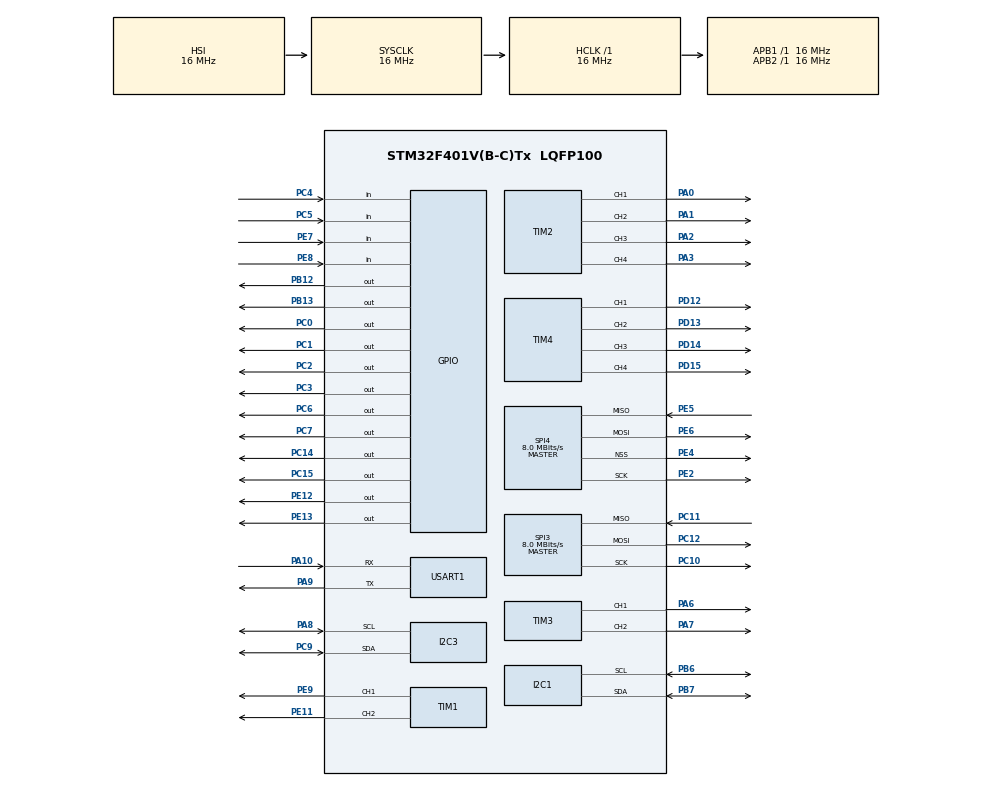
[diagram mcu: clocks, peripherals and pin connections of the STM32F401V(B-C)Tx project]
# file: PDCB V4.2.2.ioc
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Mcu.Family=STM32F4
Mcu.Name=STM32F401V(B-C)Tx
Mcu.Package=LQFP100
NVIC.PriorityGroup=NVIC_PRIORITYGROUP_4
PA0-WKUP.Signal=S_TIM2_CH1_ETR
PA1.Signal=S_TIM2_CH2
PA10.Mode=Asynchronous
PA10.Signal=USART1_RX
PA13.Mode=JTAG_4_pins
PA13.Signal=SYS_JTMS-SWDIO
PA14.Mode=JTAG_4_pins
PA14.Signal=SYS_JTCK-SWCLK
PA15.Mode=JTAG_4_pins
PA15.Signal=SYS_JTDI
PA2.Signal=S_TIM2_CH3
PA3.Signal=S_TIM2_CH4
PA6.Signal=S_TIM3_CH1
PA7.Signal=S_TIM3_CH2
PA8.Mode=I2C
PA8.Signal=I2C3_SCL
PA9.Mode=Asynchronous
PA9.Signal=USART1_TX
PB12.Signal=GPIO_Output
PB13.Signal=GPIO_Output
PB3.Mode=JTAG_4_pins
PB3.Signal=SYS_JTDO-SWO
PB6.Mode=I2C
PB6.Signal=I2C1_SCL
PB7.Mode=I2C
PB7.Signal=I2C1_SDA
PC0.Signal=GPIO_Output
PC1.Signal=GPIO_Output
PC10.Mode=Full_Duplex_Master
PC10.Signal=SPI3_SCK
PC11.Mode=Full_Duplex_Master
PC11.Signal=SPI3_MISO
PC12.Mode=Full_Duplex_Master
PC12.Signal=SPI3_MOSI
PC14-OSC32_IN.Signal=GPIO_Output
PC15-OSC32_OUT.Signal=GPIO_Output
PC2.Signal=GPIO_Output
PC3.Signal=GPIO_Output
PC4.Signal=GPIO_Input
PC5.Signal=GPIO_Input
PC6.Signal=GPIO_Output
PC7.Signal=GPIO_Output
PC9.Mode=I2C
PC9.Signal=I2C3_SDA
PD12.Signal=S_TIM4_CH1
PD13.Signal=S_TIM4_CH2
PD14.Signal=S_TIM4_CH3
PD15.Signal=S_TIM4_CH4
PE11.Signal=S_TIM1_CH2
PE12.Signal=GPIO_Output
PE13.Signal=GPIO_Output
PE2.Mode=Full_Duplex_Master
PE2.Signal=SPI4_SCK
PE4.Mode=NSS_Signal_Hard_Output
PE4.Signal=SPI4_NSS
PE5.Mode=Full_Duplex_Master
PE5.Signal=SPI4_MISO
PE6.Mode=Full_Duplex_Master
PE6.Signal=SPI4_MOSI
PE7.Signal=GPIO_Input
PE8.Signal=GPIO_Input
PE9.Signal=S_TIM1_CH1
PH0\ -\ OSC_IN.Mode=HSE-External-Oscillator
PH0\ -\ OSC_IN.Signal=RCC_OSC_IN
PH1\ -\ OSC_OUT.Mode=HSE-External-Oscillator
PH1\ -\ OSC_OUT.Signal=RCC_OSC_OUT
ProjectManager.HeapSize=0x200
ProjectManager.StackSize=0x400
ProjectManager.TargetToolchain=MDK-ARM V5
RCC.AHBFreq_Value=16000000
RCC.APB1Freq_Value=16000000
RCC.APB2Freq_Value=16000000
RCC.CortexFreq_Value=16000000
RCC.HSE_VALUE=25000000
RCC.HSI_VALUE=16000000
RCC.LSE_VALUE=32768
RCC.SYSCLKFreq_VALUE=16000000
RCC.VCOOutputFreq_Value=192000000
SH.S_TIM1_CH1.0=TIM1_CH1,PWM Generation1 CH1
SH.S_TIM1_CH2.0=TIM1_CH2,PWM Generation2 CH2
SH.S_TIM2_CH1_ETR.0=TIM2_CH1,PWM Generation1 CH1
SH.S_TIM2_CH2.0=TIM2_CH2,PWM Generation2 CH2
SH.S_TIM2_CH3.0=TIM2_CH3,PWM Generation3 CH3
SH.S_TIM2_CH4.0=TIM2_CH4,PWM Generation4 CH4
SH.S_TIM3_CH1.0=TIM3_CH1,PWM Generation1 CH1
SH.S_TIM3_CH2.0=TIM3_CH2,PWM Generation2 CH2
SH.S_TIM4_CH1.0=TIM4_CH1,PWM Generation1 CH1
SH.S_TIM4_CH2.0=TIM4_CH2,PWM Generation2 CH2
SH.S_TIM4_CH3.0=TIM4_CH3,PWM Generation3 CH3
SH.S_TIM4_CH4.0=TIM4_CH4,PWM Generation4 CH4
SPI3.CalculateBaudRate=8.0 MBits/s
SPI3.Direction=SPI_DIRECTION_2LINES
SPI3.Mode=SPI_MODE_MASTER
SPI3.VirtualType=VM_MASTER
SPI4.CalculateBaudRate=8.0 MBits/s
SPI4.Direction=SPI_DIRECTION_2LINES
SPI4.Mode=SPI_MODE_MASTER
SPI4.VirtualNSS=VM_NSSHARD
SPI4.VirtualType=VM_MASTER
TIM1.Channel-PWM\ Generation1\ CH1=TIM_CHANNEL_1
TIM1.Channel-PWM\ Generation2\ CH2=TIM_CHANNEL_2
TIM2.Channel-PWM\ Generation1\ CH1=TIM_CHANNEL_1
TIM2.Channel-PWM\ Generation2\ CH2=TIM_CHANNEL_2
TIM2.Channel-PWM\ Generation3\ CH3=TIM_CHANNEL_3
TIM2.Channel-PWM\ Generation4\ CH4=TIM_CHANNEL_4
TIM3.Channel-PWM\ Generation1\ CH1=TIM_CHANNEL_1
TIM3.Channel-PWM\ Generation2\ CH2=TIM_CHANNEL_2
TIM4.Channel-PWM\ Generation1\ CH1=TIM_CHANNEL_1
TIM4.Channel-PWM\ Generation2\ CH2=TIM_CHANNEL_2
TIM4.Channel-PWM\ Generation3\ CH3=TIM_CHANNEL_3
TIM4.Channel-PWM\ Generation4\ CH4=TIM_CHANNEL_4
USART1.VirtualMode=VM_ASYNC
board=custom

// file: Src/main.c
/* USER CODE BEGIN Header */
/**
  ******************************************************************************
  * @file           : main.c
  * @brief          : Main program body
  ******************************************************************************
  ** This notice applies to any and all portions of this file
  * that are not between comment pairs USER CODE BEGIN and
  * USER CODE END. Other portions of this file, whether
  * inserted by the user or by software development tools
  * are owned by their respective copyright owners.
  *
  * COPYRIGHT(c) 2019 STMicroelectronics
  *
  * Redistribution and use in source and binary forms, with or without modification,
  * are permitted provided that the following conditions are met:
  *   1. Redistributions of source code must retain the above copyright notice,
  *      this list of conditions and the following disclaimer.
  *   2. Redistributions in binary form must reproduce the above copyright notice,
  *      this list of conditions and the following disclaimer in the documentation
  *      and/or other materials provided with the distribution.
  *   3. Neither the name of STMicroelectronics nor the names of its contributors
  *      may be used to endorse or promote products derived from this software
  *      without specific prior written permission.
  *
  * THIS SOFTWARE IS PROVIDED BY THE COPYRIGHT HOLDERS AND CONTRIBUTORS "AS IS"
  * AND ANY EXPRESS OR IMPLIED WARRANTIES, INCLUDING, BUT NOT LIMITED TO, THE
  * IMPLIED WARRANTIES OF MERCHANTABILITY AND FITNESS FOR A PARTICULAR PURPOSE ARE
  * DISCLAIMED. IN NO EVENT SHALL THE COPYRIGHT HOLDER OR CONTRIBUTORS BE LIABLE
  * FOR ANY DIRECT, INDIRECT, INCIDENTAL, SPECIAL, EXEMPLARY, OR CONSEQUENTIAL
  * DAMAGES (INCLUDING, BUT NOT LIMITED TO, PROCUREMENT OF SUBSTITUTE GOODS OR
  * SERVICES; LOSS OF USE, DATA, OR PROFITS; OR BUSINESS INTERRUPTION) HOWEVER
  * CAUSED AND ON ANY THEORY OF LIABILITY, WHETHER IN CONTRACT, STRICT LIABILITY,
  * OR TORT (INCLUDING NEGLIGENCE OR OTHERWISE) ARISING IN ANY WAY OUT OF THE USE
  * OF THIS SOFTWARE, EVEN IF ADVISED OF THE POSSIBILITY OF SUCH DAMAGE.
  *
  ******************************************************************************
  */
/* USER CODE END Header */

#include "main.h"

I2C_HandleTypeDef hi2c1;
I2C_HandleTypeDef hi2c3;

SPI_HandleTypeDef hspi3;
SPI_HandleTypeDef hspi4;

TIM_HandleTypeDef htim1;
TIM_HandleTypeDef htim2;
TIM_HandleTypeDef htim3;
TIM_HandleTypeDef htim4;

UART_HandleTypeDef huart1;

uint16_t pwm_value = 0;

void SystemClock_Config(void);
static void MX_GPIO_Init(void);
static void MX_I2C1_Init(void);
static void MX_I2C3_Init(void);
static void MX_SPI3_Init(void);
static void MX_SPI4_Init(void);
static void MX_TIM1_Init(void);
static void MX_TIM2_Init(void);
static void MX_TIM3_Init(void);
static void MX_TIM4_Init(void);
static void MX_USART1_UART_Init(void);
void user_pwm_setvalue(uint16_t value);

int main(void)
{

  /* MCU Configuration--------------------------------------------------------*/

  /* Reset of all peripherals, Initializes the Flash interface and the Systick. */
  HAL_Init();

  /* Configure the system clock */
  SystemClock_Config();

  /* Initialize all configured peripherals */
  MX_GPIO_Init();
  MX_I2C1_Init();
  MX_I2C3_Init();
  MX_SPI3_Init();
  MX_SPI4_Init();
  MX_TIM1_Init();
  MX_TIM2_Init();
  MX_TIM3_Init();
  MX_TIM4_Init();
  MX_USART1_UART_Init();
  /* USER CODE BEGIN 2 */
	HAL_TIM_PWM_Start(&htim3, TIM_CHANNEL_1);
	HAL_TIM_PWM_Start(&htim3, TIM_CHANNEL_2);

  /* USER CODE END 2 */

  /* Infinite loop */
  while (1)
  {

    /* USER CODE BEGIN 3 */
		HAL_Delay(100);
		pwm_value = 500;
		user_pwm_setvalue(pwm_value);

  }
  /* USER CODE END 3 */
}

void SystemClock_Config(void)
{
  RCC_OscInitTypeDef RCC_OscInitStruct = {0};
  RCC_ClkInitTypeDef RCC_ClkInitStruct = {0};

  /**Configure the main internal regulator output voltage
  */
  __HAL_RCC_PWR_CLK_ENABLE();
  __HAL_PWR_VOLTAGESCALING_CONFIG(PWR_REGULATOR_VOLTAGE_SCALE2);
  /**Initializes the CPU, AHB and APB busses clocks
  */
  RCC_OscInitStruct.OscillatorType = RCC_OSCILLATORTYPE_HSI;
  RCC_OscInitStruct.HSIState = RCC_HSI_ON;
  RCC_OscInitStruct.HSICalibrationValue = RCC_HSICALIBRATION_DEFAULT;
  RCC_OscInitStruct.PLL.PLLState = RCC_PLL_NONE;
  if (HAL_RCC_OscConfig(&RCC_OscInitStruct) != HAL_OK)
  {
    Error_Handler();
  }
  /**Initializes the CPU, AHB and APB busses clocks
  */
  RCC_ClkInitStruct.ClockType = RCC_CLOCKTYPE_HCLK|RCC_CLOCKTYPE_SYSCLK
                              |RCC_CLOCKTYPE_PCLK1|RCC_CLOCKTYPE_PCLK2;
  RCC_ClkInitStruct.SYSCLKSource = RCC_SYSCLKSOURCE_HSI;
  RCC_ClkInitStruct.AHBCLKDivider = RCC_SYSCLK_DIV1;
  RCC_ClkInitStruct.APB1CLKDivider = RCC_HCLK_DIV1;
  RCC_ClkInitStruct.APB2CLKDivider = RCC_HCLK_DIV1;

  if (HAL_RCC_ClockConfig(&RCC_ClkInitStruct, FLASH_LATENCY_0) != HAL_OK)
  {
    Error_Handler();
  }
}

static void MX_I2C1_Init(void)
{

  hi2c1.Instance = I2C1;
  hi2c1.Init.ClockSpeed = 100000;
  hi2c1.Init.DutyCycle = I2C_DUTYCYCLE_2;
  hi2c1.Init.OwnAddress1 = 0;
  hi2c1.Init.AddressingMode = I2C_ADDRESSINGMODE_7BIT;
  hi2c1.Init.DualAddressMode = I2C_DUALADDRESS_DISABLE;
  hi2c1.Init.OwnAddress2 = 0;
  hi2c1.Init.GeneralCallMode = I2C_GENERALCALL_DISABLE;
  hi2c1.Init.NoStretchMode = I2C_NOSTRETCH_DISABLE;
  if (HAL_I2C_Init(&hi2c1) != HAL_OK)
  {
    Error_Handler();
  }

}

static void MX_I2C3_Init(void)
{

  hi2c3.Instance = I2C3;
  hi2c3.Init.ClockSpeed = 100000;
  hi2c3.Init.DutyCycle = I2C_DUTYCYCLE_2;
  hi2c3.Init.OwnAddress1 = 0;
  hi2c3.Init.AddressingMode = I2C_ADDRESSINGMODE_7BIT;
  hi2c3.Init.DualAddressMode = I2C_DUALADDRESS_DISABLE;
  hi2c3.Init.OwnAddress2 = 0;
  hi2c3.Init.GeneralCallMode = I2C_GENERALCALL_DISABLE;
  hi2c3.Init.NoStretchMode = I2C_NOSTRETCH_DISABLE;
  if (HAL_I2C_Init(&hi2c3) != HAL_OK)
  {
    Error_Handler();
  }

}

static void MX_SPI3_Init(void)
{

  /* SPI3 parameter configuration*/
  hspi3.Instance = SPI3;
  hspi3.Init.Mode = SPI_MODE_MASTER;
  hspi3.Init.Direction = SPI_DIRECTION_2LINES;
  hspi3.Init.DataSize = SPI_DATASIZE_8BIT;
  hspi3.Init.CLKPolarity = SPI_POLARITY_LOW;
  hspi3.Init.CLKPhase = SPI_PHASE_1EDGE;
  hspi3.Init.NSS = SPI_NSS_SOFT;
  hspi3.Init.BaudRatePrescaler = SPI_BAUDRATEPRESCALER_2;
  hspi3.Init.FirstBit = SPI_FIRSTBIT_MSB;
  hspi3.Init.TIMode = SPI_TIMODE_DISABLE;
  hspi3.Init.CRCCalculation = SPI_CRCCALCULATION_DISABLE;
  hspi3.Init.CRCPolynomial = 10;
  if (HAL_SPI_Init(&hspi3) != HAL_OK)
  {
    Error_Handler();
  }

}

static void MX_SPI4_Init(void)
{

  /* SPI4 parameter configuration*/
  hspi4.Instance = SPI4;
  hspi4.Init.Mode = SPI_MODE_MASTER;
  hspi4.Init.Direction = SPI_DIRECTION_2LINES;
  hspi4.Init.DataSize = SPI_DATASIZE_8BIT;
  hspi4.Init.CLKPolarity = SPI_POLARITY_LOW;
  hspi4.Init.CLKPhase = SPI_PHASE_1EDGE;
  hspi4.Init.NSS = SPI_NSS_HARD_OUTPUT;
  hspi4.Init.BaudRatePrescaler = SPI_BAUDRATEPRESCALER_2;
  hspi4.Init.FirstBit = SPI_FIRSTBIT_MSB;
  hspi4.Init.TIMode = SPI_TIMODE_DISABLE;
  hspi4.Init.CRCCalculation = SPI_CRCCALCULATION_DISABLE;
  hspi4.Init.CRCPolynomial = 10;
  if (HAL_SPI_Init(&hspi4) != HAL_OK)
  {
    Error_Handler();
  }

}

static void MX_TIM1_Init(void)
{

  TIM_MasterConfigTypeDef sMasterConfig = {0};
  TIM_OC_InitTypeDef sConfigOC = {0};
  TIM_BreakDeadTimeConfigTypeDef sBreakDeadTimeConfig = {0};

  htim1.Instance = TIM1;
  htim1.Init.Prescaler = 0;
  htim1.Init.CounterMode = TIM_COUNTERMODE_UP;
  htim1.Init.Period = 0;
  htim1.Init.ClockDivision = TIM_CLOCKDIVISION_DIV1;
  htim1.Init.RepetitionCounter = 0;
  if (HAL_TIM_PWM_Init(&htim1) != HAL_OK)
  {
    Error_Handler();
  }
  sMasterConfig.MasterOutputTrigger = TIM_TRGO_RESET;
  sMasterConfig.MasterSlaveMode = TIM_MASTERSLAVEMODE_DISABLE;
  if (HAL_TIMEx_MasterConfigSynchronization(&htim1, &sMasterConfig) != HAL_OK)
  {
    Error_Handler();
  }
  sConfigOC.OCMode = TIM_OCMODE_PWM1;
  sConfigOC.Pulse = 0;
  sConfigOC.OCPolarity = TIM_OCPOLARITY_HIGH;
  sConfigOC.OCNPolarity = TIM_OCNPOLARITY_HIGH;
  sConfigOC.OCFastMode = TIM_OCFAST_DISABLE;
  sConfigOC.OCIdleState = TIM_OCIDLESTATE_RESET;
  sConfigOC.OCNIdleState = TIM_OCNIDLESTATE_RESET;
  if (HAL_TIM_PWM_ConfigChannel(&htim1, &sConfigOC, TIM_CHANNEL_1) != HAL_OK)
  {
    Error_Handler();
  }
  if (HAL_TIM_PWM_ConfigChannel(&htim1, &sConfigOC, TIM_CHANNEL_2) != HAL_OK)
  {
    Error_Handler();
  }
  sBreakDeadTimeConfig.OffStateRunMode = TIM_OSSR_DISABLE;
  sBreakDeadTimeConfig.OffStateIDLEMode = TIM_OSSI_DISABLE;
  sBreakDeadTimeConfig.LockLevel = TIM_LOCKLEVEL_OFF;
  sBreakDeadTimeConfig.DeadTime = 0;
  sBreakDeadTimeConfig.BreakState = TIM_BREAK_DISABLE;
  sBreakDeadTimeConfig.BreakPolarity = TIM_BREAKPOLARITY_HIGH;
  sBreakDeadTimeConfig.AutomaticOutput = TIM_AUTOMATICOUTPUT_DISABLE;
  if (HAL_TIMEx_ConfigBreakDeadTime(&htim1, &sBreakDeadTimeConfig) != HAL_OK)
  {
    Error_Handler();
  }
  HAL_TIM_MspPostInit(&htim1);

}

static void MX_TIM2_Init(void)
{

  TIM_MasterConfigTypeDef sMasterConfig = {0};
  TIM_OC_InitTypeDef sConfigOC = {0};

  htim2.Instance = TIM2;
  htim2.Init.Prescaler = 0;
  htim2.Init.CounterMode = TIM_COUNTERMODE_UP;
  htim2.Init.Period = 0;
  htim2.Init.ClockDivision = TIM_CLOCKDIVISION_DIV1;
  if (HAL_TIM_PWM_Init(&htim2) != HAL_OK)
  {
    Error_Handler();
  }
  sMasterConfig.MasterOutputTrigger = TIM_TRGO_RESET;
  sMasterConfig.MasterSlaveMode = TIM_MASTERSLAVEMODE_DISABLE;
  if (HAL_TIMEx_MasterConfigSynchronization(&htim2, &sMasterConfig) != HAL_OK)
  {
    Error_Handler();
  }
  sConfigOC.OCMode = TIM_OCMODE_PWM1;
  sConfigOC.Pulse = 0;
  sConfigOC.OCPolarity = TIM_OCPOLARITY_HIGH;
  sConfigOC.OCFastMode = TIM_OCFAST_DISABLE;
  if (HAL_TIM_PWM_ConfigChannel(&htim2, &sConfigOC, TIM_CHANNEL_1) != HAL_OK)
  {
    Error_Handler();
  }
  if (HAL_TIM_PWM_ConfigChannel(&htim2, &sConfigOC, TIM_CHANNEL_2) != HAL_OK)
  {
    Error_Handler();
  }
  if (HAL_TIM_PWM_ConfigChannel(&htim2, &sConfigOC, TIM_CHANNEL_3) != HAL_OK)
  {
    Error_Handler();
  }
  if (HAL_TIM_PWM_ConfigChannel(&htim2, &sConfigOC, TIM_CHANNEL_4) != HAL_OK)
  {
    Error_Handler();
  }
  HAL_TIM_MspPostInit(&htim2);

}

static void MX_TIM3_Init(void)
{

  TIM_MasterConfigTypeDef sMasterConfig = {0};
  TIM_OC_InitTypeDef sConfigOC = {0};

  htim3.Instance = TIM3;
  htim3.Init.Prescaler = 42-1;
  htim3.Init.CounterMode = TIM_COUNTERMODE_UP;
  htim3.Init.Period = 2000-1;
  htim3.Init.ClockDivision = TIM_CLOCKDIVISION_DIV1;
  if (HAL_TIM_PWM_Init(&htim3) != HAL_OK)
  {
    Error_Handler();
  }
  sMasterConfig.MasterOutputTrigger = TIM_TRGO_RESET;
  sMasterConfig.MasterSlaveMode = TIM_MASTERSLAVEMODE_DISABLE;
  if (HAL_TIMEx_MasterConfigSynchronization(&htim3, &sMasterConfig) != HAL_OK)
  {
    Error_Handler();
  }
  sConfigOC.OCMode = TIM_OCMODE_PWM1;
  sConfigOC.Pulse = 0;
  sConfigOC.OCPolarity = TIM_OCPOLARITY_HIGH;
  sConfigOC.OCFastMode = TIM_OCFAST_DISABLE;
  if (HAL_TIM_PWM_ConfigChannel(&htim3, &sConfigOC, TIM_CHANNEL_1) != HAL_OK)
  {
    Error_Handler();
  }
  if (HAL_TIM_PWM_ConfigChannel(&htim3, &sConfigOC, TIM_CHANNEL_2) != HAL_OK)
  {
    Error_Handler();
  }
  HAL_TIM_MspPostInit(&htim3);

}

static void MX_TIM4_Init(void)
{

  TIM_MasterConfigTypeDef sMasterConfig = {0};
  TIM_OC_InitTypeDef sConfigOC = {0};

  htim4.Instance = TIM4;
  htim4.Init.Prescaler = 0;
  htim4.Init.CounterMode = TIM_COUNTERMODE_UP;
  htim4.Init.Period = 0;
  htim4.Init.ClockDivision = TIM_CLOCKDIVISION_DIV1;
  if (HAL_TIM_PWM_Init(&htim4) != HAL_OK)
  {
    Error_Handler();
  }
  sMasterConfig.MasterOutputTrigger = TIM_TRGO_RESET;
  sMasterConfig.MasterSlaveMode = TIM_MASTERSLAVEMODE_DISABLE;
  if (HAL_TIMEx_MasterConfigSynchronization(&htim4, &sMasterConfig) != HAL_OK)
  {
    Error_Handler();
  }
  sConfigOC.OCMode = TIM_OCMODE_PWM1;
  sConfigOC.Pulse = 0;
  sConfigOC.OCPolarity = TIM_OCPOLARITY_HIGH;
  sConfigOC.OCFastMode = TIM_OCFAST_DISABLE;
  if (HAL_TIM_PWM_ConfigChannel(&htim4, &sConfigOC, TIM_CHANNEL_1) != HAL_OK)
  {
    Error_Handler();
  }
  if (HAL_TIM_PWM_ConfigChannel(&htim4, &sConfigOC, TIM_CHANNEL_2) != HAL_OK)
  {
    Error_Handler();
  }
  if (HAL_TIM_PWM_ConfigChannel(&htim4, &sConfigOC, TIM_CHANNEL_3) != HAL_OK)
  {
    Error_Handler();
  }
  if (HAL_TIM_PWM_ConfigChannel(&htim4, &sConfigOC, TIM_CHANNEL_4) != HAL_OK)
  {
    Error_Handler();
  }
  HAL_TIM_MspPostInit(&htim4);

}

static void MX_USART1_UART_Init(void)
{

  huart1.Instance = USART1;
  huart1.Init.BaudRate = 115200;
  huart1.Init.WordLength = UART_WORDLENGTH_8B;
  huart1.Init.StopBits = UART_STOPBITS_1;
  huart1.Init.Parity = UART_PARITY_NONE;
  huart1.Init.Mode = UART_MODE_TX_RX;
  huart1.Init.HwFlowCtl = UART_HWCONTROL_NONE;
  huart1.Init.OverSampling = UART_OVERSAMPLING_16;
  if (HAL_UART_Init(&huart1) != HAL_OK)
  {
    Error_Handler();
  }

}

static void MX_GPIO_Init(void)
{
  GPIO_InitTypeDef GPIO_InitStruct = {0};

  /* GPIO Ports Clock Enable */
  __HAL_RCC_GPIOE_CLK_ENABLE();
  __HAL_RCC_GPIOC_CLK_ENABLE();
  __HAL_RCC_GPIOH_CLK_ENABLE();
  __HAL_RCC_GPIOA_CLK_ENABLE();
  __HAL_RCC_GPIOB_CLK_ENABLE();
  __HAL_RCC_GPIOD_CLK_ENABLE();

  /*Configure GPIO pin Output Level */
  HAL_GPIO_WritePin(GPIOC, GPIO_PIN_14|GPIO_PIN_15|GPIO_PIN_0|GPIO_PIN_1
                          |GPIO_PIN_2|GPIO_PIN_3|GPIO_PIN_6|GPIO_PIN_7, GPIO_PIN_RESET);

  /*Configure GPIO pin Output Level */
  HAL_GPIO_WritePin(GPIOE, GPIO_PIN_12|GPIO_PIN_13, GPIO_PIN_RESET);

  /*Configure GPIO pin Output Level */
  HAL_GPIO_WritePin(GPIOB, GPIO_PIN_12|GPIO_PIN_13, GPIO_PIN_RESET);

  /*Configure GPIO pins : PC14 PC15 PC0 PC1
                           PC2 PC3 PC6 PC7 */
  GPIO_InitStruct.Pin = GPIO_PIN_14|GPIO_PIN_15|GPIO_PIN_0|GPIO_PIN_1
                          |GPIO_PIN_2|GPIO_PIN_3|GPIO_PIN_6|GPIO_PIN_7;
  GPIO_InitStruct.Mode = GPIO_MODE_OUTPUT_PP;
  GPIO_InitStruct.Pull = GPIO_NOPULL;
  GPIO_InitStruct.Speed = GPIO_SPEED_FREQ_LOW;
  HAL_GPIO_Init(GPIOC, &GPIO_InitStruct);

  /*Configure GPIO pins : PC4 PC5 */
  GPIO_InitStruct.Pin = GPIO_PIN_4|GPIO_PIN_5;
  GPIO_InitStruct.Mode = GPIO_MODE_INPUT;
  GPIO_InitStruct.Pull = GPIO_NOPULL;
  HAL_GPIO_Init(GPIOC, &GPIO_InitStruct);

  /*Configure GPIO pins : PE7 PE8 */
  GPIO_InitStruct.Pin = GPIO_PIN_7|GPIO_PIN_8;
  GPIO_InitStruct.Mode = GPIO_MODE_INPUT;
  GPIO_InitStruct.Pull = GPIO_NOPULL;
  HAL_GPIO_Init(GPIOE, &GPIO_InitStruct);

  /*Configure GPIO pins : PE12 PE13 */
  GPIO_InitStruct.Pin = GPIO_PIN_12|GPIO_PIN_13;
  GPIO_InitStruct.Mode = GPIO_MODE_OUTPUT_PP;
  GPIO_InitStruct.Pull = GPIO_NOPULL;
  GPIO_InitStruct.Speed = GPIO_SPEED_FREQ_LOW;
  HAL_GPIO_Init(GPIOE, &GPIO_InitStruct);

  /*Configure GPIO pins : PB12 PB13 */
  GPIO_InitStruct.Pin = GPIO_PIN_12|GPIO_PIN_13;
  GPIO_InitStruct.Mode = GPIO_MODE_OUTPUT_PP;
  GPIO_InitStruct.Pull = GPIO_NOPULL;
  GPIO_InitStruct.Speed = GPIO_SPEED_FREQ_LOW;
  HAL_GPIO_Init(GPIOB, &GPIO_InitStruct);

}

/* USER CODE BEGIN 4 */
void user_pwm_setvalue(uint16_t value)
{
    TIM_OC_InitTypeDef sConfigOC;

    sConfigOC.OCMode = TIM_OCMODE_PWM1;
    sConfigOC.Pulse = value;
    sConfigOC.OCPolarity = TIM_OCPOLARITY_HIGH;
    sConfigOC.OCFastMode = TIM_OCFAST_DISABLE;
    HAL_TIM_PWM_ConfigChannel(&htim3, &sConfigOC, TIM_CHANNEL_1);
		HAL_TIM_PWM_ConfigChannel(&htim3, &sConfigOC, TIM_CHANNEL_2);
    HAL_TIM_PWM_Start(&htim3, TIM_CHANNEL_1);
		HAL_TIM_PWM_Start(&htim3, TIM_CHANNEL_2);
}

/* USER CODE END 4 */

void Error_Handler(void)
{
}

/************************ (C) COPYRIGHT STMicroelectronics *****END OF FILE****/
